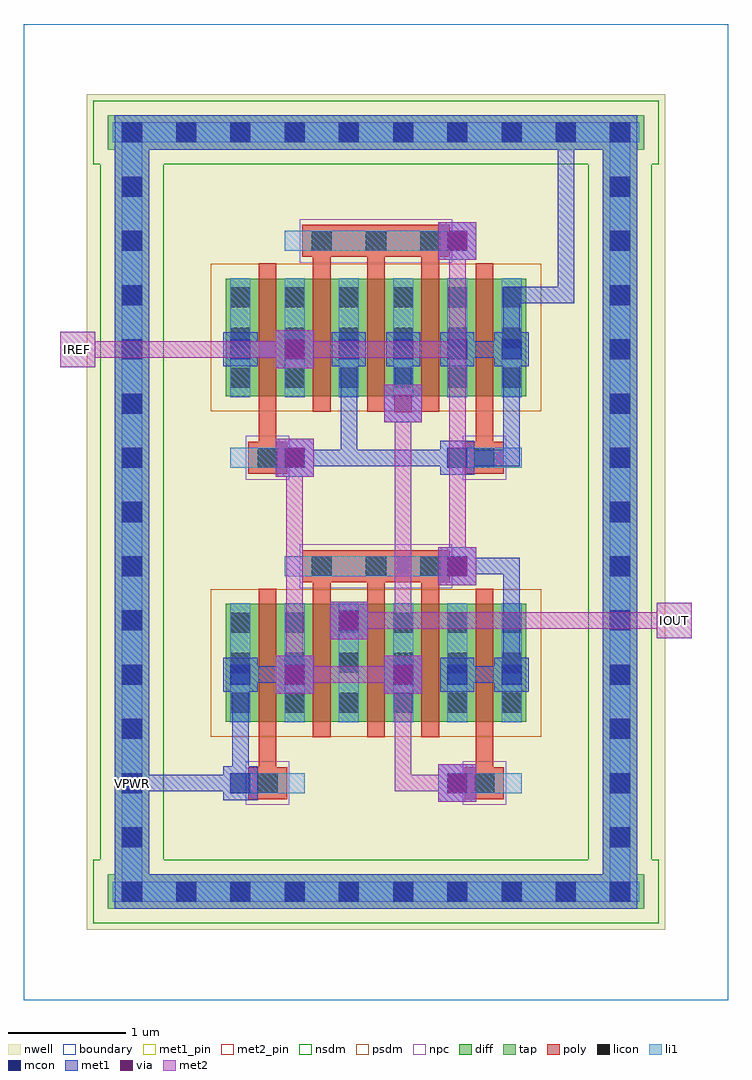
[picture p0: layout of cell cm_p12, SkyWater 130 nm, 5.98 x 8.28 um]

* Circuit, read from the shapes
.subckt cm_p12 IOUT IREF VPWR
XM1 VPWR VPWR VPWR VPWR sky130_fd_pr__pfet_01v8 w=1 l=0.15 m=2
XM2 IREF VPWR IREF VPWR sky130_fd_pr__pfet_01v8 w=1 l=0.15 m=2
XM3 IOUT IREF VPWR VPWR sky130_fd_pr__pfet_01v8 w=1 l=0.15 m=4
XM4 VPWR IREF IREF VPWR sky130_fd_pr__pfet_01v8 w=1 l=0.15 m=2
.ends

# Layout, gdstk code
import gdstk
lib = gdstk.Library(unit=1e-6, precision=1e-09)
def R(c, l, rs):  # rectangles x0, y0, x1, y1
    for r in rs: c.add(gdstk.rectangle(r[:2], r[2:], *l))
def A(c, l, x, y, w, h, nx, ny, dx, dy):  # array of equal rectangles
    R(c, l, [(x+i*dx, y+j*dy, x+i*dx+w, y+j*dy+h) for i in range(nx) for j in range(ny)])
nwell = (64, 20)
diff = (65, 20)
tap = (65, 44)
poly = (66, 20)
licon = (66, 44)
li1 = (67, 20)
mcon = (67, 44)
met1_pin = (68, 16)
met1 = (68, 20)
via = (68, 44)
met2_pin = (69, 16)
met2 = (69, 20)
nsdm = (93, 44)
psdm = (94, 20)
npc = (95, 20)
boundary = (235, 4)

cm_p12 = lib.new_cell('cm_p12')
R(cm_p12, nwell, [(0.535,0.595,5.445,7.685)])
R(cm_p12, diff, [(1.715,2.36,4.265,3.36), (1.715,5.12,4.265,6.12)])
R(cm_p12, tap, [(0.715,0.775,5.265,1.065), (0.775,0.775,1.065,7.505), (4.915,0.775,5.205,7.505), (0.715,7.215,5.265,7.505)])
A(cm_p12, poly, 2.455, 2.23, 0.15, 1.45, 3, 2, 0.46, 2.76)
R(cm_p12, poly, [(1.905,1.705,2.235,1.975), (3.745,1.705,4.075,1.975), (1.995,1.84,2.145,3.49), (3.835,1.84,3.985,3.49), (2.365,3.545,3.615,3.815), (1.905,4.465,2.235,4.735), (3.745,4.465,4.075,4.735), (1.995,4.6,2.145,6.25), (3.835,4.6,3.985,6.25), (2.365,6.305,3.615,6.575)])
A(cm_p12, licon, 0.835, 0.835, 0.17, 0.17, 10, 2, 0.46, 6.44)
A(cm_p12, licon, 0.835, 1.295, 0.17, 0.17, 1, 13, 0, 0.46)
A(cm_p12, licon, 4.975, 1.295, 0.17, 0.17, 1, 13, 0, 0.46)
A(cm_p12, licon, 1.755, 2.435, 0.17, 0.17, 6, 3, 0.46, 0.34)
A(cm_p12, licon, 2.445, 3.595, 0.17, 0.17, 3, 2, 0.46, 2.76)
A(cm_p12, licon, 1.755, 5.195, 0.17, 0.17, 6, 3, 0.46, 0.34)
R(cm_p12, licon, [(1.985,1.755,2.155,1.925), (3.825,1.755,3.995,1.925), (1.985,4.515,2.155,4.685), (3.825,4.515,3.995,4.685)])
A(cm_p12, li1, 1.755, 2.355, 0.17, 1.01, 6, 2, 0.46, 2.76)
R(cm_p12, li1, [(0.755,0.835,5.225,1.005), (0.835,0.835,1.005,7.445), (4.975,0.835,5.145,7.445), (1.755,1.755,2.385,1.925), (3.595,1.755,4.225,1.925), (2.215,3.595,3.765,3.765), (1.755,4.515,2.385,4.685), (3.595,4.515,4.225,4.685), (2.215,6.355,3.765,6.525), (0.755,7.275,5.225,7.445)])
A(cm_p12, mcon, 0.835, 0.835, 0.17, 0.17, 10, 2, 0.46, 6.44)
A(cm_p12, mcon, 0.835, 1.295, 0.17, 0.17, 1, 7, 0, 0.46)
A(cm_p12, mcon, 4.975, 1.295, 0.17, 0.17, 1, 7, 0, 0.46)
A(cm_p12, mcon, 3.135, 2.675, 0.17, 0.17, 3, 1, 0.46, 0)
A(cm_p12, mcon, 0.835, 4.515, 0.17, 0.17, 4, 1, 1.38, 0)
A(cm_p12, mcon, 0.835, 4.975, 0.17, 0.17, 1, 5, 0, 0.46)
A(cm_p12, mcon, 4.975, 4.975, 0.17, 0.17, 1, 5, 0, 0.46)
A(cm_p12, mcon, 1.755, 5.435, 0.17, 0.17, 6, 1, 0.46, 0)
R(cm_p12, mcon, [(1.755,1.755,1.925,1.925), (3.595,1.755,3.765,1.925), (1.755,2.675,1.925,2.845), (2.215,2.675,2.385,2.845), (2.675,3.135,2.845,3.305), (3.595,3.595,3.765,3.765), (3.595,6.355,3.765,6.525)])
R(cm_p12, met1_pin, [(0.85,1.77,0.99,1.91)])
A(cm_p12, met1, 3.075, 2.615, 0.29, 0.29, 3, 1, 0.46, 0)
A(cm_p12, met1, 3.61, 2.69, 0.6, 0.14, 1, 4, 0, 0.92)
A(cm_p12, met1, 1.695, 5.375, 0.29, 0.29, 6, 1, 0.46, 0)
R(cm_p12, met1, [(0.775,0.775,5.205,1.065), (0.775,0.775,1.065,7.505), (4.915,0.775,5.205,7.505), (3.52,1.68,3.84,2), (1.695,1.695,1.985,1.985), (3.535,1.695,3.825,1.985), (0.85,1.77,0.99,1.91), (0.85,1.77,1.91,1.91), (1.77,1.77,1.91,2.83), (2.14,2.6,2.46,2.92), (3.06,2.6,3.38,2.92), (1.695,2.615,1.985,2.905), (2.155,2.615,2.445,2.905), (1.77,2.69,2.37,2.83), (4.07,2.69,4.21,3.75), (2.6,3.06,2.92,3.38), (2.615,3.075,2.905,3.365), (3.52,3.52,3.84,3.84), (3.535,3.535,3.825,3.825), (2.14,4.44,2.46,4.76), (2.155,4.455,2.445,4.745), (3.535,4.455,3.825,4.745), (2.23,4.53,3.75,4.67), (2.69,4.53,2.83,5.59), (4.07,4.53,4.21,5.59), (3.06,4.9,3.38,5.22), (3.15,4.99,3.29,5.59), (2.14,5.36,2.46,5.68), (1.77,5.45,2.37,5.59), (4.07,5.45,4.21,6.05), (4.07,5.91,4.67,6.05), (4.53,5.91,4.67,7.43), (3.52,6.28,3.84,6.6), (3.535,6.295,3.825,6.585), (0.775,7.215,5.205,7.505), (4.53,7.29,4.67,7.43)])
R(cm_p12, via, [(3.605,1.765,3.755,1.915), (2.225,2.685,2.375,2.835), (3.145,2.685,3.295,2.835), (2.685,3.145,2.835,3.295), (3.605,3.605,3.755,3.755), (2.225,4.525,2.375,4.675), (3.145,4.985,3.295,5.135), (2.225,5.445,2.375,5.595), (3.605,6.365,3.755,6.515)])
R(cm_p12, met2_pin, [(5.37,3.07,5.67,3.37), (0.31,5.37,0.61,5.67)])
R(cm_p12, met2, [(3.52,1.68,3.84,2), (3.15,1.77,3.29,2.83), (3.15,1.77,3.75,1.91), (2.14,2.6,2.46,2.92), (3.06,2.6,3.38,2.92), (2.23,2.69,2.37,4.67), (2.23,2.69,3.29,2.83), (2.6,3.06,2.92,3.38), (5.37,3.07,5.67,3.37), (2.69,3.15,5.59,3.29), (3.15,3.15,3.29,5.13), (5.45,3.15,5.59,3.29), (3.52,3.52,3.84,3.84), (3.61,3.61,3.75,6.51), (2.14,4.44,2.46,4.76), (3.06,4.9,3.38,5.22), (2.14,5.36,2.46,5.68), (0.31,5.37,0.61,5.67), (0.39,5.45,0.53,5.59), (0.39,5.45,2.37,5.59), (2.23,5.45,3.75,5.59), (3.52,6.28,3.84,6.6)])
R(cm_p12, nsdm, [(0.59,0.65,5.39,1.19), (0.65,1.19,1.19,7.09), (4.79,1.19,5.33,7.09), (0.59,7.09,5.39,7.63)])
R(cm_p12, psdm, [(1.59,2.235,4.39,3.485), (1.59,4.995,4.39,6.245)])
R(cm_p12, npc, [(1.885,1.655,2.255,2.025), (3.725,1.655,4.095,2.025), (2.345,3.495,3.635,3.865), (1.885,4.415,2.255,4.785), (3.725,4.415,4.095,4.785), (2.345,6.255,3.635,6.625)])
R(cm_p12, boundary, [(0,0,5.98,8.28)])
cm_p12.add(gdstk.Label('VPWR', (0.92,1.84), layer=68, texttype=5))
cm_p12.add(gdstk.Label('IREF', (0.46,5.52), layer=69, texttype=5))
cm_p12.add(gdstk.Label('IOUT', (5.52,3.22), layer=69, texttype=5))
cm_p12.add(gdstk.Label('VPWR', (0.92,1.84), layer=68, texttype=16))
cm_p12.add(gdstk.Label('IREF', (0.46,5.52), layer=69, texttype=16))
cm_p12.add(gdstk.Label('IOUT', (5.52,3.22), layer=69, texttype=16))

lib.write_gds('cm_p12.gds')
